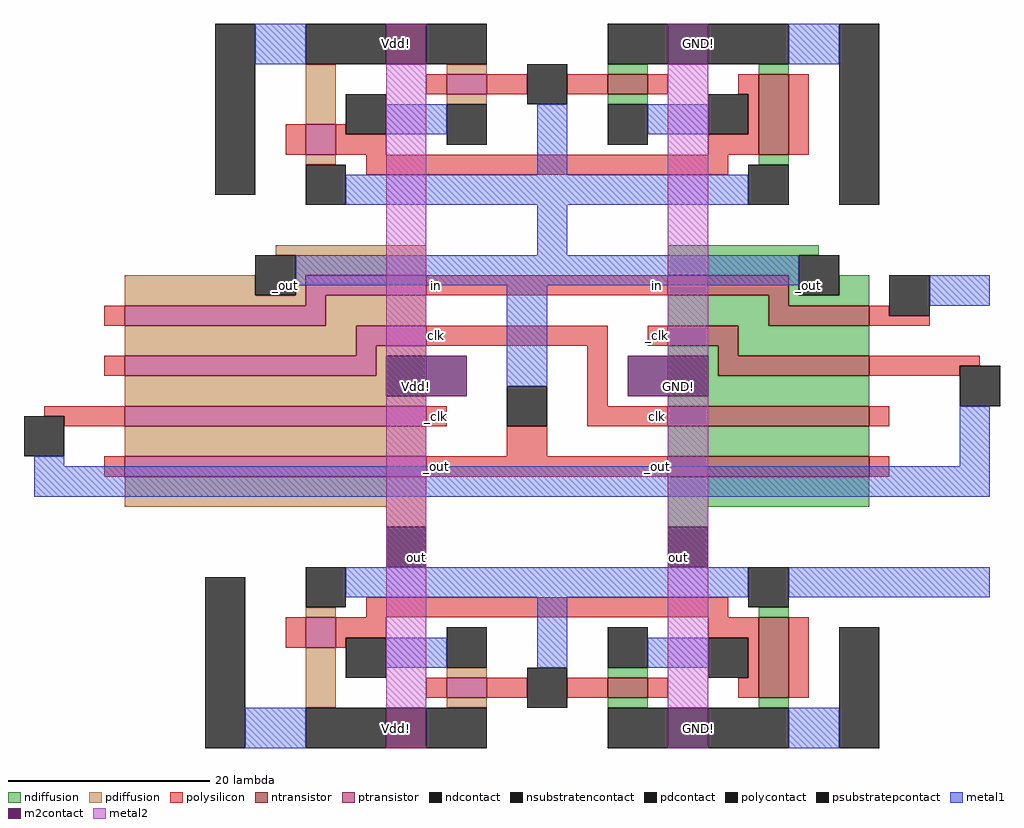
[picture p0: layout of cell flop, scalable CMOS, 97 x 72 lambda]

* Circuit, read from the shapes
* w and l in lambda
.subckt flop GND! Vdd! _clk _out clk in out
M1 n1 out GND! GND! nfet w=4 l=2
M2 GND! _out n2 GND! nfet w=4 l=2
M3 n3 _out out GND! nfet w=20 l=2
M4 GND! clk n3 GND! nfet w=20 l=2
M5 n4 _clk GND! GND! nfet w=23 l=2
M6 out n1 GND! GND! nfet w=3 l=8
M7 GND! n2 _out GND! nfet w=3 l=8
M8 _out in n4 GND! nfet w=23 l=2
M9 n5 _out out Vdd! pfet w=30 l=2
M10 Vdd! _clk n5 Vdd! pfet w=30 l=2
M11 Vdd! clk n6 Vdd! pfet w=33 l=2
M12 n6 in _out Vdd! pfet w=33 l=2
M13 out n1 Vdd! Vdd! pfet w=3 l=3
M14 Vdd! n2 _out Vdd! pfet w=3 l=3
M15 n1 out Vdd! Vdd! pfet w=4 l=2
M16 Vdd! _out n2 Vdd! pfet w=4 l=2
.ends

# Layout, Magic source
magic
tech scmos
<< ntransistor >>
rect 17 34 21 36
rect 32 28 35 36
rect 23 14 35 16
rect 33 13 35 14
rect 33 11 43 13
rect 23 9 30 11
rect 28 8 30 9
rect 28 6 43 8
rect 23 1 43 3
rect 23 -4 43 -2
rect 17 -26 21 -24
rect 32 -26 35 -18
<< ptransistor >>
rect 1 34 5 36
rect -13 28 -10 31
rect -13 14 -1 16
rect -13 13 -11 14
rect -31 11 -11 13
rect -8 9 -1 11
rect -8 8 -6 9
rect -31 6 -6 8
rect -31 1 -1 3
rect -31 -4 -1 -2
rect -13 -21 -10 -18
rect 1 -26 5 -24
<< ndiffusion >>
rect 23 37 27 41
rect 17 36 21 37
rect 32 36 35 37
rect 17 33 21 34
rect 32 27 35 28
rect 23 18 38 19
rect 23 16 36 18
rect 35 14 36 16
rect 40 14 43 16
rect 23 11 33 14
rect 35 13 43 14
rect 23 8 28 9
rect 30 8 43 11
rect 27 6 28 8
rect 27 4 43 6
rect 23 3 43 4
rect 23 -2 43 1
rect 23 -7 43 -4
rect 23 -9 27 -7
rect 32 -18 35 -17
rect 17 -24 21 -23
rect 17 -27 21 -26
rect 32 -27 35 -26
rect 23 -31 27 -27
<< pdiffusion >>
rect -5 37 -1 41
rect -13 31 -10 37
rect 1 36 5 37
rect 1 33 5 34
rect -13 27 -10 28
rect -16 18 -1 19
rect -31 14 -18 16
rect -14 16 -1 18
rect -14 14 -13 16
rect -31 13 -13 14
rect -11 11 -1 14
rect -31 8 -8 11
rect -6 8 -1 9
rect -6 6 -5 8
rect -31 4 -5 6
rect -31 3 -1 4
rect -31 -2 -1 1
rect -31 -7 -1 -4
rect -5 -9 -1 -7
rect -13 -18 -10 -17
rect -13 -27 -10 -21
rect 1 -24 5 -23
rect 1 -27 5 -26
rect -5 -31 -1 -27
<< ndcontact >>
rect 17 37 23 41
rect 27 37 35 41
rect 17 29 21 33
rect 31 23 35 27
rect 36 14 40 18
rect 23 4 27 8
rect 23 -13 27 -9
rect 31 -17 35 -13
rect 17 -23 21 -19
rect 17 -31 23 -27
rect 27 -31 35 -27
<< pdcontact >>
rect -13 37 -5 41
rect -1 37 5 41
rect 1 29 5 33
rect -13 23 -9 27
rect -18 14 -14 18
rect -5 4 -1 8
rect -5 -13 -1 -9
rect -13 -17 -9 -13
rect 1 -23 5 -19
rect -13 -31 -5 -27
rect -1 -31 5 -27
<< psubstratepcontact >>
rect 40 23 44 41
rect 40 -31 44 -19
<< nsubstratencontact >>
rect -22 24 -18 41
rect -23 -31 -19 -14
<< polysilicon >>
rect -1 34 1 36
rect 5 34 9 36
rect -15 28 -13 31
rect -10 30 -9 31
rect -10 28 -5 30
rect 13 34 17 36
rect 21 34 23 36
rect 30 34 32 36
rect 31 30 32 34
rect 27 28 32 30
rect 35 28 37 36
rect -7 26 29 28
rect -1 14 23 16
rect -33 11 -31 13
rect 43 12 45 13
rect 43 11 49 12
rect -1 9 17 11
rect 21 9 23 11
rect -33 6 -31 8
rect -39 2 -31 3
rect -37 1 -31 2
rect -1 1 1 3
rect 15 3 17 9
rect 43 7 54 8
rect 43 6 52 7
rect 15 1 23 3
rect 43 1 45 3
rect 7 -2 11 1
rect -33 -4 -31 -2
rect -1 -4 23 -2
rect 43 -4 45 -2
rect -7 -18 29 -16
rect -15 -21 -13 -18
rect -10 -20 -5 -18
rect -10 -21 -9 -20
rect -1 -26 1 -24
rect 5 -26 9 -24
rect 27 -20 32 -18
rect 31 -24 32 -20
rect 13 -26 17 -24
rect 21 -26 23 -24
rect 30 -26 32 -24
rect 35 -26 37 -18
<< polycontact >>
rect -9 30 -5 34
rect 9 33 13 37
rect 27 30 31 34
rect 45 12 49 16
rect -41 -2 -37 2
rect 7 1 11 5
rect 52 3 56 7
rect -9 -24 -5 -20
rect 9 -27 13 -23
rect 27 -24 31 -20
<< metal1 >>
rect -18 37 -13 41
rect 35 37 40 41
rect -5 30 1 33
rect 10 26 13 33
rect 21 30 27 33
rect -9 23 31 26
rect 10 18 13 23
rect -14 15 36 18
rect 7 5 11 15
rect 49 13 55 16
rect -40 -3 -37 -2
rect 52 -3 55 3
rect -40 -6 55 -3
rect -9 -16 31 -13
rect -5 -23 1 -20
rect 10 -23 13 -16
rect 35 -16 55 -13
rect 21 -23 27 -20
rect -19 -31 -13 -27
rect 35 -31 40 -27
<< m2contact >>
rect -5 37 -1 41
rect 23 37 27 41
rect -1 4 3 8
rect 19 4 23 8
rect -5 -31 -1 -27
rect 23 -31 27 -27
<< metal2 >>
rect -5 -27 -1 37
rect 23 -27 27 37
<< labels >>
rlabel polysilicon 0 -3 0 -3 1 _out
rlabel polysilicon 0 2 0 2 1 _clk
rlabel pdcontact -2 5 -2 5 1 Vdd!
rlabel polysilicon 0 10 0 10 1 clk
rlabel polysilicon 0 15 0 15 1 in
rlabel pdcontact -15 15 -15 15 1 _out
rlabel polysilicon 22 -3 22 -3 1 _out
rlabel polysilicon 22 2 22 2 1 clk
rlabel ndcontact 24 5 24 5 1 GND!
rlabel polysilicon 22 10 22 10 1 _clk
rlabel polysilicon 22 15 22 15 1 in
rlabel ndcontact 37 15 37 15 1 _out
rlabel ndiffusion 26 39 26 39 5 GND!
rlabel pdiffusion -4 39 -4 39 5 Vdd!
rlabel ndiffusion 26 -29 26 -29 1 GND!
rlabel pdiffusion -4 -29 -4 -29 1 Vdd!
rlabel pdcontact -2 -12 -2 -12 1 out
rlabel ndcontact 24 -12 24 -12 1 out
<< end >>
